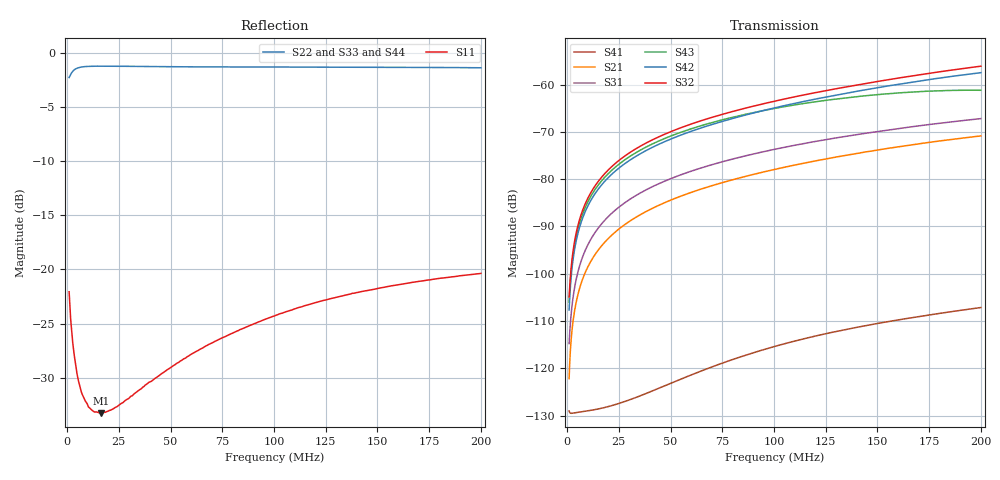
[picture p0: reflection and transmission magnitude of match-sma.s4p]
!SIMULATED forward model. SMA ports A/J2 B/J3 C/J4 D/J5. See electrical-assumptions.json.
! Created with skrf 2.1.0 (http://scikit-rf.org).
# Hz S RI R 50.0
!freq ReS11 ImS11 ReS12 ImS12 ReS13 ImS13
! ReS14 ImS14
! ReS21 ImS21 ReS22 ImS22 ReS23 ImS23
! ReS24 ImS24
! ReS31 ImS31 ReS32 ImS32 ReS33 ImS33
! ReS34 ImS34
! ReS41 ImS41 ReS42 ImS42 ReS43 ImS43
! ReS44 ImS44
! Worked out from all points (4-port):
!   1601 points, 1 MHz to 200 MHz, reference 50 ohm
!   strongest paths, dB at 1 MHz, 50.75 MHz, 100.5 MHz, 150.2 MHz, 200 MHz:
!     S32: -104.9, -69.9, -63.5, -59.3, -56.1
!     S42: -107.7, -71.4, -64.9, -60.7, -57.5
!     S43: -106.0, -70.8, -65.0, -62.1, -61.2
!     S31: -114.8, -79.8, -73.7, -69.9, -67.2
!     S21: -122.2, -84.3, -77.9, -73.8, -70.9
!     S41: -129.0, -123.0, -115.4, -110.5, -107.1
!   lowest |S11| = -33.3 dB at 16.55 MHz (marker M1), VSWR 1.04, Z = 49.2 + j1.98 ohm
!   |S11| at or under -10 dB: start of sweep to end of sweep
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1000000  -0.0412 0.0672  -1.51e-07 -7.76e-07  -1.35e-09 -1.82e-06  3.31e-07 -1.74e-07
         -1.69e-07 -7.59e-07  0.7463 0.1876  -2.63e-06 5.03e-06  1.57e-06 -3.82e-06
         -8.19e-09 -1.83e-06  -2.55e-06 5.06e-06  0.7462 0.1877  8.05e-07 -4.95e-06
         3.07e-07 -1.77e-07  1.64e-06 -3.8e-06  7.99e-07 -4.93e-06  0.7464 0.187
6472500  -0.0133 0.0247  -6.32e-07 -7.55e-06  -6.24e-07 -1.29e-05  3.42e-07 -1.46e-07
         -6.45e-07 -7.48e-06  0.8583 -0.0113  -1e-06 4.01e-05  1.83e-08 -3.33e-05
         -6.32e-07 -1.29e-05  -8.94e-07 4.01e-05  0.8583 -0.0107  -1.03e-06 -3.67e-05
         3.16e-07 -1.42e-07  1.07e-07 -3.32e-05  -1.03e-06 -3.67e-05  0.8582 -0.0161
1.654688e7  -0.00796 0.0201  -4.86e-06 -1.91e-05  -6.03e-06 -3.28e-05  2.43e-07 -3.2e-07
            -4.84e-06 -1.89e-05  0.8516 -0.168  1.82e-05 0.000102  -1.64e-05 -8.48e-05
            -6.04e-06 -3.28e-05  1.83e-05 0.000102  0.8519 -0.1664  -1.91e-05 -9.3e-05
            2.2e-07 -3.08e-07  -1.63e-05 -8.45e-05  -1.91e-05 -9.3e-05  0.8491 -0.1802
4.92575e7  0.00599 0.0343  -4.03e-05 -4.37e-05  -5.29e-05 -8.42e-05  -5.1e-07 -4.8e-07
           -4.01e-05 -4.32e-05  0.6874 -0.5224  0.000184 0.000252  -0.00016 -0.000207
           -5.29e-05 -8.42e-05  0.000184 0.000251  0.6904 -0.5184  -0.000172 -0.000221
           -5.13e-07 -4.5e-07  -0.000159 -0.000206  -0.000172 -0.000221  0.6644 -0.5519
1.121912e8  0.0516 0.0424  -0.000144 1.39e-05  -0.000223 -6.63e-05  -1.26e-06 1.57e-06
            -0.000143 1.42e-05  0.0507 -0.8581  0.000756 6.7e-05  -0.000649 -1.75e-05
            -0.000223 -6.62e-05  0.000755 6.7e-05  0.0654 -0.8571  -0.000619 -1.72e-05
            -1.23e-06 1.57e-06  -0.000646 -1.75e-05  -0.000619 -1.71e-05  -0.04 -0.8602
1.529862e8  0.0781 0.0268  -0.000162 0.000133  -0.000319 6.51e-05  2.26e-07 3.08e-06
            -0.00016 0.000133  -0.441 -0.7356  0.000968 -0.000531  -0.000789 0.000533
            -0.000319 6.51e-05  0.000968 -0.000531  -0.4195 -0.7481  -0.00066 0.000439
            2.49e-07 3.05e-06  -0.000786 0.000531  -0.00066 0.000439  -0.5485 -0.6626
2e8  0.0958 0.00141  -5.2e-05 0.000283  -0.000303 0.000313  3.32e-06 2.92e-06
     -5.08e-05 0.000282  -0.8214 -0.2318  0.000501 -0.00148  -0.000265 0.00131
     -0.000303 0.000313  0.000501 -0.00148  -0.8087 -0.2713  -0.000187 0.000849
     3.31e-06 2.89e-06  -0.000264 0.00131  -0.000187 0.000849  -0.8558 -0.0593
